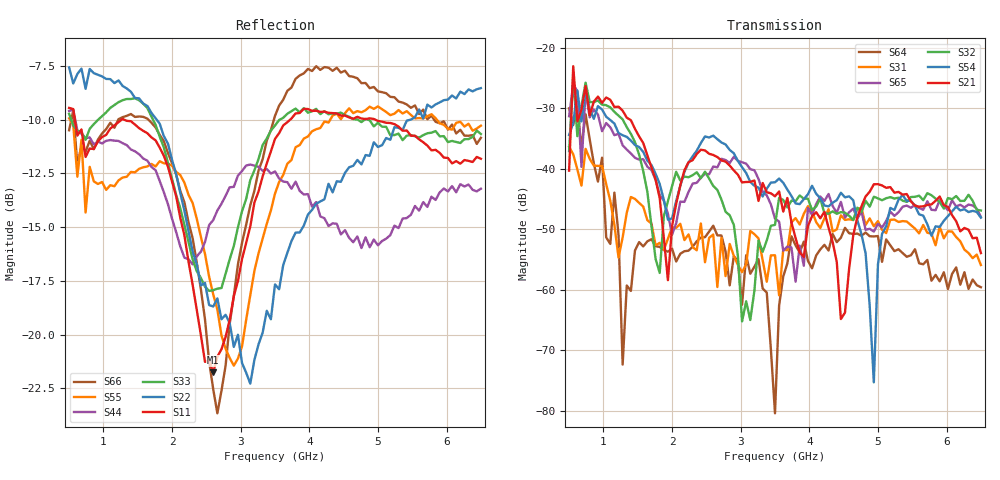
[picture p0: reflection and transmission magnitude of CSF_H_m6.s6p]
!Keysight Technologies,M9804A,MY58100912,A.14.10.03
!Date: Thursday, April 27, 2023 10:28:33
!Correction: S11(C  6-Port  )
!S12(C  6-Port  )
!S13(C  6-Port  )
!S14(C  6-Port  )
!S15(C  6-Port  )
!S16(C  6-Port  )
!S21(C  6-Port  )
!S22(C  6-Port  )
!S23(C  6-Port  )
!S24(C  6-Port  )
!S25(C  6-Port  )
!S26(C  6-Port  )
!S31(C  6-Port  )
!S32(C  6-Port  )
!S33(C  6-Port  )
!S34(C  6-Port  )
!S35(C  6-Port  )
!S36(C  6-Port  )
!S41(C  6-Port  )
!S42(C  6-Port  )
!S43(C  6-Port  )
!S44(C  6-Port  )
!S45(C  6-Port  )
!S46(C  6-Port  )
!S51(C  6-Port  )
!S52(C  6-Port  )
!S53(C  6-Port  )
!S54(C  6-Port  )
!S55(C  6-Port  )
!S56(C  6-Port  )
!S61(C  6-Port  )
!S62(C  6-Port  )
!S63(C  6-Port  )
!S64(C  6-Port  )
!S65(C  6-Port  )
!S66(C  6-Port  )
!S6P File: Measurement: :
# Hz S  RI  R 50
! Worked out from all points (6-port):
!   101 points, 500 MHz to 6.5 GHz, reference 50 ohm
!   strongest paths, dB at 500 MHz, 2 GHz, 3.5 GHz, 5 GHz, 6.5 GHz:
!     S21: -40.3, -49.5, -44.6, -42.6, -54.0
!     S54: -34.4, -48.2, -42.3, -55.9, -48.1
!     S32: -37.1, -42.9, -49.3, -44.9, -46.9
!     S65: -31.4, -50.9, -48.3, -49.1, -48.0
!     S31: -36.4, -49.7, -54.3, -48.7, -55.9
!     S64: -30.0, -53.2, -80.4, -51.2, -59.6
!   lowest |S11| = -21.7 dB at 2.6 GHz (marker M1), VSWR 1.18, Z = 42.7 + j1.95 ohm
!   |S11| at or under -10 dB: 584 MHz to 1.267 GHz (683.2 MHz wide, 73.8 % of centre); 1.302 GHz to 3.72 GHz (2.418 GHz wide, 96.3 % of centre); 4.961 GHz to end of sweep
